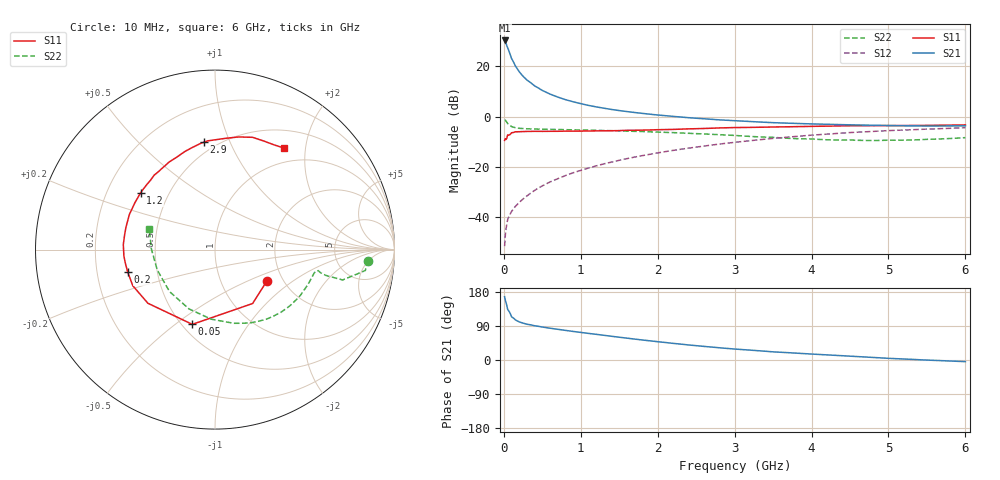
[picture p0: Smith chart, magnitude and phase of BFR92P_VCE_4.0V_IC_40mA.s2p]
! Infineon Technologies  Discrete & RF Semiconductors
! BFR92P
! VCE =  4.0 V,  IC =  40 mA
! Common Emitter S-Parameters:  Apr 2014
# GHz  S  MA  R  50
!  f  S11  S21  S12  S22
! GHz  MAG  ANG  MAG  ANG  MAG  ANG  MAG  ANG
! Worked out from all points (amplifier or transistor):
!   77 points, 10 MHz to 6 GHz, reference 50 ohm
!   highest |S21| = 30.2 dB at 10 MHz (marker M1)
!   |S21| within 3 dB of that: start of sweep to 50.73 MHz
!   unconditionally stable (mu >= 1): start of sweep to 15.45 MHz; 86.64 MHz to 5.974 GHz
!   at 130 MHz: K = 1.15, MAG = 26.5 dB, |S12| = -36.4 dB
!   at 2.2 GHz: K = 1.18, MAG = 4.2 dB, |S12| = -13.4 dB
!   at 6 GHz: K = 1.00, MSG = 0.4 dB, |S12| = -4.4 dB
!   S11 on the Smith chart (normalised r, x): 10 MHz: 1.64, -0.66; 50 MHz: 0.56, -0.58; 200 MHz: 0.34, -0.11; 1.2 GHz: 0.35, +0.30; 2.9 GHz: 0.43, +0.81; 6 GHz: 0.76, +1.62
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0.01  0.3379 -31.6  32.38 167.0  0.0027 78.9  0.8538 -4.1
0.02  0.3662 -55.1  31.05 157.1  0.0046 73.2  0.8456 -7.9
0.05  0.4353 -106.9  23.07 133.1  0.0091 60.1  0.7306 -13.4
0.1  0.4788 -141.4  14.21 114.1  0.0131 54.7  0.635 -13.1
0.15  0.5002 -156.3  10.13 105.8  0.0166 61.8  0.6023 -12.4
0.2  0.5023 -165.4  7.765 100.5  0.0199 66.0  0.5866 -11.5
0.25  0.5052 -171.4  6.307 97.3  0.0233 69.0  0.5805 -11.9
0.3  0.5089 -175.9  5.319 94.4  0.0267 72.0  0.5737 -12.1
0.4  0.5117 176.8  4.07 90.4  0.0344 74.6  0.5671 -13.5
0.5  0.5102 171.2  3.307 87.0  0.0424 76.6  0.5631 -15.2
0.6  0.5115 166.2  2.802 83.9  0.0506 78.7  0.5593 -17.1
0.7  0.5122 162.0  2.445 81.0  0.0587 78.8  0.5556 -19.1
0.9  0.5151 153.3  1.972 75.4  0.077 79.7  0.547 -23.5
1.1  0.5181 146.2  1.671 70.2  0.0956 79.7  0.5403 -27.9
1.2  0.5217 142.7  1.561 67.8  0.1055 79.3  0.536 -30.0
1.6  0.5356 129.3  1.26 57.7  0.1469 76.7  0.5163 -39.3
2.1  0.5537 114.9  1.044 46.2  0.2024 71.8  0.4874 -51.0
2.9  0.6016 95.8  0.847 30.6  0.2972 61.7  0.4306 -72.4
3.1  0.6091 91.9  0.816 27.5  0.3209 58.6  0.4138 -78.9
4.1  0.6442 76.8  0.711 14.6  0.4391 43.4  0.3529 -118.2
5.1  0.6645 64.5  0.663 3.5  0.5351 27.1  0.3404 -164.7
6  0.6845 55.7  0.657 -4.3  0.6025 13.2  0.3835 162.8
